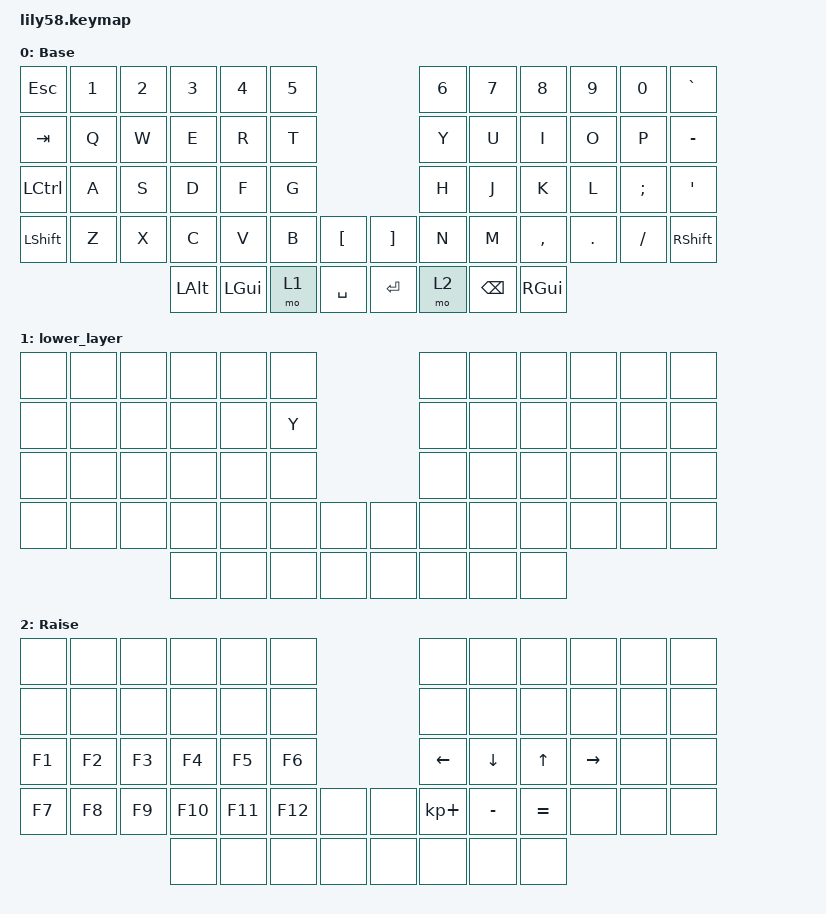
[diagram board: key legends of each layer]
/*
 * Copyright (c) 2020 The ZMK Contributors
 *
 * SPDX-License-Identifier: MIT
 */

#include <behaviors.dtsi>
#include <dt-bindings/zmk/keys.h>

/ {
    keymap {
        compatible = "zmk,keymap";

        default_layerr {
            // ------------------------------------------------------------------------------------------------------------
            // |  ESC  |  1  |  2  |  3   |  4   |  5   |                   |  6   |  7    |  8    |  9   |   0   |   `   |
            // |  TAB  |  Q  |  W  |  E   |  R   |  T   |                   |  Y   |  U    |  I    |  O   |   P   |   -   |
            // |  CTRL |  A  |  S  |  D   |  F   |  G   |                   |  H   |  J    |  K    |  L   |   ;   |   '   |
            // | SHIFT |  Z  |  X  |  C   |  V   |  B   |   "["  |  |  "]"  |  N   |  M    |  ,    |  .   |   /   | SHIFT |
            //                     | ALT  | GUI  | LOWER|  SPACE |  | ENTER | RAISE| BSPC  | GUI   |

            display-name = "Base";
            bindings = <
&kp ESC    &kp N1  &kp N2  &kp N3    &kp N4    &kp N5                         &kp N6  &kp N7    &kp N8     &kp N9   &kp N0    &kp GRAVE
&kp TAB    &kp Q   &kp W   &kp E     &kp R     &kp T                          &kp Y   &kp U     &kp I      &kp O    &kp P     &kp MINUS
&kp LCTRL  &kp A   &kp S   &kp D     &kp F     &kp G                          &kp H   &kp J     &kp K      &kp L    &kp SEMI  &kp SQT
&kp LSHFT  &kp Z   &kp X   &kp C     &kp V     &kp B   &kp LBKT     &kp RBKT  &kp N   &kp M     &kp COMMA  &kp DOT  &kp FSLH  &kp RSHFT
                           &kp LALT  &kp LGUI  &mo 1   &kp SPACE    &kp RET   &mo 2   &kp BSPC  &kp RGUI
            >;
        };

        lower_layer {
            bindings = <
&none  &none  &none  &none  &none  &none                  &none  &none  &none  &none  &none  &none
&none  &none  &none  &none  &none  &kp Y                  &none  &none  &none  &none  &none  &none
&none  &none  &none  &none  &none  &none                  &none  &none  &none  &none  &none  &none
&none  &none  &none  &none  &none  &none  &none    &none  &none  &none  &none  &none  &none  &none
                     &none  &none  &none  &none    &none  &none  &none  &none
            >;
        };

        raise_layer {
            // ------------------------------------------------------------------------------------------------------------
            // |       |     |     |      |      |      |                   |      |       |       |      |       |       |
            // |   `   |  1  |  2  |  3   |  4   |  5   |                   |  6   |   7   |   8   |  9   |   0   |       |
            // |   F1  |  F2 |  F3 |  F4  |  F5  |  F6  |                   |      |   <-  |   v   |  ^   |  ->   |       |
            // |   F7  |  F8 |  F9 |  F10 |  F11 |  F12 |        |  |       |  +   |   -   |   =   |  [   |   ]   |   \   |
            //                     |      |      |      |        |  |       |      |       |       |

            display-name = "Raise";
            bindings = <
&none   &none   &none   &none    &none    &none                    &none           &none           &none         &none      &none  &none
&none   &none   &none   &none    &none    &none                    &none           &none           &none         &none      &none  &none
&kp F1  &kp F2  &kp F3  &kp F4   &kp F5   &kp F6                   &kp LEFT_ARROW  &kp DOWN_ARROW  &kp UP_ARROW  &kp RIGHT  &none  &none
&kp F7  &kp F8  &kp F9  &kp F10  &kp F11  &kp F12  &none    &none  &kp KP_PLUS     &kp MINUS       &kp EQUAL     &none      &none  &none
                        &none    &none    &none    &none    &none  &none           &none           &none
            >;
        };
    };
};
